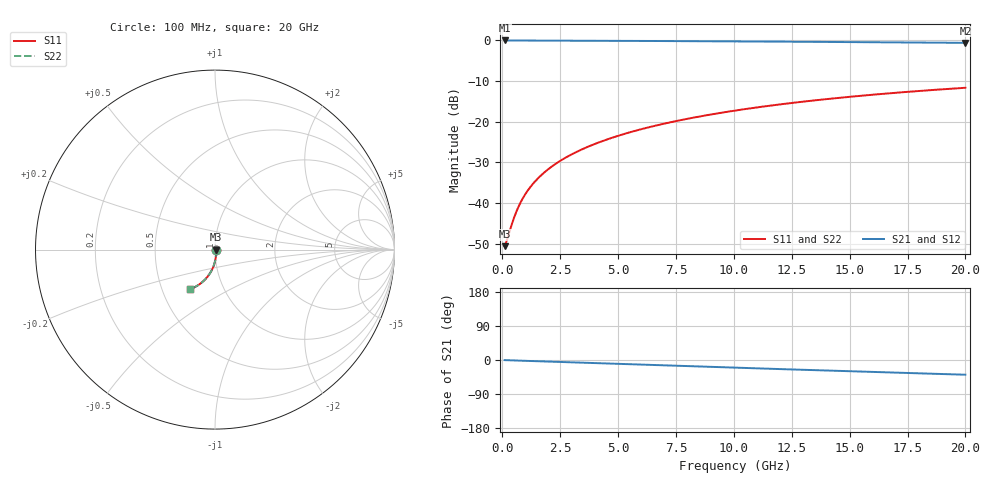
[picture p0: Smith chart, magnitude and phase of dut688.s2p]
! Touchstone file exported from HFSS 2026.1.0
!  File:  C:/ffzhzh/LocalFiles/Ansys_Project_Files/temp_train_BSMRDL_688_1783017647_51716.aedt
!  Generated:  02:42:13 AM Jul  3, 2026
!  Design:  BSMRDL
!  Project:  temp_train_BSMRDL_688_1783017647_51716
! Variables:
!  h_bsmrdl = 3.44um
!  h_ox = 20um
!  h_rdl = 5um
!  h_sub = 80um
!  h_tmrdl = 5um
!  h_tsv = 80um
!  h_via = 3um
!  l_bsmrdl = 616.21um
!  l_sub = 1016.21um
!  l_tmrdl = 200um
!  m_sub = 200um
!  pitch = 25.89um
!  r_tsv = 6um
!  s_tmrdl = 10um
!  w_bsmrdl = 24.61um
!  w_sub = 500um
!  w_tmrdl = 12um
!  x_tsv_center1 = 206um
!  x_tsv_center2 = 846.82um
!  x_tsv_center3 = 1058.82um
!  x_tsv_center4 = 1699.64um
!  x_tsv_center5 = 1911.64um
!  x_tsv_center6 = 2552.46um
# GHz S MA R 50.000000
! Terminal data exported
! Port[1] = BSM_RDL1_1_T1
! Port[2] = BSM_RDL1_1_T2
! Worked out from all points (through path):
!   200 points, 100 MHz to 20 GHz, reference 50 ohm
!   highest |S21| = -0.03 dB at 100 MHz (marker M1); lowest = -0.6 dB at 20 GHz (marker M2)
!   group delay of S21, straight-line fit = 5.38 ps
!   lowest |S11| = -50.6 dB at 100 MHz (marker M3), VSWR 1.01, Z = 50.3 - j0.0479 ohm
!   |S11| at or under -10 dB: start of sweep to end of sweep
!   |S22| runs from -50.6 to -11.6 dB; largest |S21 - S12| = 2.6e-15
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0.1  0.002968 -9.2  0.9971 -0.3  0.9971 -0.3  0.002968 -9.2
! Gamma 0 0 0 0
! Port Impedance 50 0 50 0
0.2  0.003525 -18.4  0.9966 -0.5  0.9966 -0.5  0.003525 -18.4
0.4  0.005394 -34.6  0.9955 -1.0  0.9955 -1.0  0.005394 -34.6
0.5  0.006547 -41.2  0.995 -1.2  0.995 -1.2  0.006547 -41.2
0.7  0.009048 -51.4  0.9941 -1.6  0.9941 -1.6  0.009048 -51.4
0.8  0.01035 -55.3  0.9938 -1.8  0.9938 -1.8  0.01035 -55.3
1  0.01298 -61.4  0.9933 -2.2  0.9933 -2.2  0.01298 -61.4
1.3  0.01698 -67.9  0.9927 -2.8  0.9927 -2.8  0.01698 -67.9
1.7  0.02234 -73.6  0.9921 -3.6  0.9921 -3.6  0.02234 -73.6
2.2  0.02906 -78.2  0.9914 -4.6  0.9914 -4.6  0.02905 -78.3
2.8  0.03715 -82.1  0.9905 -5.8  0.9905 -5.8  0.03715 -82.1
3.5  0.04665 -85.3  0.9892 -7.3  0.9892 -7.3  0.04665 -85.3
4.2  0.05622 -87.8  0.9878 -8.7  0.9878 -8.7  0.05622 -87.8
5  0.06723 -90.3  0.986 -10.3  0.986 -10.3  0.06723 -90.3
5.9  0.0797 -92.7  0.9837 -12.1  0.9837 -12.1  0.07969 -92.7
6.8  0.09222 -94.9  0.9813 -13.9  0.9813 -13.9  0.09221 -95.0
8.4  0.1145 -98.7  0.9765 -17.0  0.9765 -17.0  0.1145 -98.7
10.1  0.1379 -102.4  0.9709 -20.3  0.9709 -20.3  0.1379 -102.5
11.7  0.1596 -105.9  0.9653 -23.4  0.9653 -23.4  0.1596 -105.9
13.4  0.1821 -109.4  0.959 -26.6  0.959 -26.6  0.182 -109.4
16.7  0.2235 -116.0  0.9458 -32.8  0.9458 -32.8  0.2235 -116.1
20  0.2616 -122.4  0.9318 -38.8  0.9318 -38.8  0.2615 -122.4
